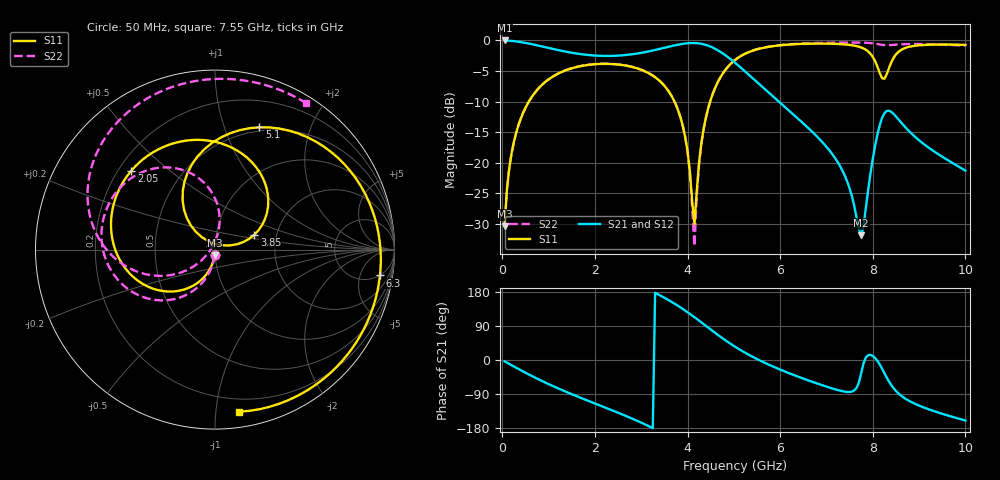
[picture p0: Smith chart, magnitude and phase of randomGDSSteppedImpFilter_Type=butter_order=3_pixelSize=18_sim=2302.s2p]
! freq	dB(S11)	phase(S11)	dB(S12)	phase(S12)
!  dB(S21)	phase(S21)	dB(S22)	phase(S22)
!S-par simulation data
#  GHz  S  DB  R 50
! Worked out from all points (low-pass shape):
!   200 points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, 50 MHz to 10 GHz, reference 50 ohm
!   highest |S21| = -0.01 dB at 50 MHz (marker M1); lowest = -31.8 dB at 7.75 GHz (marker M2)
!   |S21| within 3 dB of the highest: start of sweep to 4.921 GHz
!   lowest |S11| = -30.4 dB at 50 MHz (marker M3), VSWR 1.06, Z = 49.7 - j3.01 ohm
!   |S11| at or under -10 dB: start of sweep to 573.7 MHz; 3.718 GHz to 4.488 GHz (770.2 MHz wide, 18.8 % of centre)
!   |S22| runs from -33.6 to -0.3 dB; largest |S21 - S12| = 0
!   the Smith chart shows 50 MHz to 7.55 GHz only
!   S11 on the Smith chart (normalised r, x): 50 MHz: 0.99, -0.06; 2.05 GHz: 0.25, +0.38; 3.85 GHz: 1.53, +0.27; 5.1 GHz: 0.46, +1.32; 6.3 GHz: 5, -11; 7.55 GHz: 0.11, -1.15
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0.05  -30.35 -93.9  -0.01 -3.5  -0.01 -3.5  -30.35 -93.2
0.2  -18.46 -105.6  -0.08 -13.7  -0.08 -13.7  -18.45 -102.7
0.5  -11.02 -127.7  -0.41 -33.5  -0.41 -33.5  -11.01 -120.4
1.75  -4.12 153.6  -2.29 -102.7  -2.29 -102.7  -4.10 -179.8
2.05  -3.86 136.6  -2.49 -117.2  -2.49 -117.2  -3.84 168.2
3.4  -6.63 53.5  -1.39 170.9  -1.39 170.9  -6.61 110.5
3.85  -12.63 20.7  -0.62 138.5  -0.62 138.5  -12.63 85.6
4.15  -29.98 85.6  -0.43 112.9  -0.43 112.9  -33.60 164.1
4.25  -19.88 136.6  -0.50 103.8  -0.50 103.8  -20.13 -141.2
4.4  -12.49 131.6  -0.75 89.8  -0.75 89.8  -12.51 -146.5
5.05  -3.06 74.2  -3.80 33.2  -3.80 33.2  -3.04 167.4
5.1  -2.79 70.1  -4.13 29.5  -4.13 29.5  -2.77 164.2
6.3  -0.63 -8.9  -12.20 -39.9  -12.20 -39.9  -0.58 105.6
6.7  -0.53 -30.5  -14.98 -57.8  -14.98 -57.8  -0.44 90.0
7.55  -0.79 -81.7  -25.48 -83.3  -25.48 -83.3  -0.35 58.1
7.75  -1.15 -100.6  -31.84 -35.0  -31.84 -35.0  -0.36 50.4
8.1  -4.29 -177.1  -15.39 -2.2  -15.39 -2.2  -0.58 36.8
8.25  -6.27 92.7  -11.89 -34.4  -11.89 -34.4  -0.77 32.1
8.35  -4.51 34.5  -11.48 -56.8  -11.48 -56.8  -0.78 29.4
8.5  -2.29 -13.4  -12.42 -81.6  -12.42 -81.6  -0.69 24.6
8.85  -0.94 -59.2  -15.31 -112.1  -15.31 -112.1  -0.59 11.4
10  -0.72 -115.0  -21.27 -159.7  -21.27 -159.7  -0.87 -35.7
